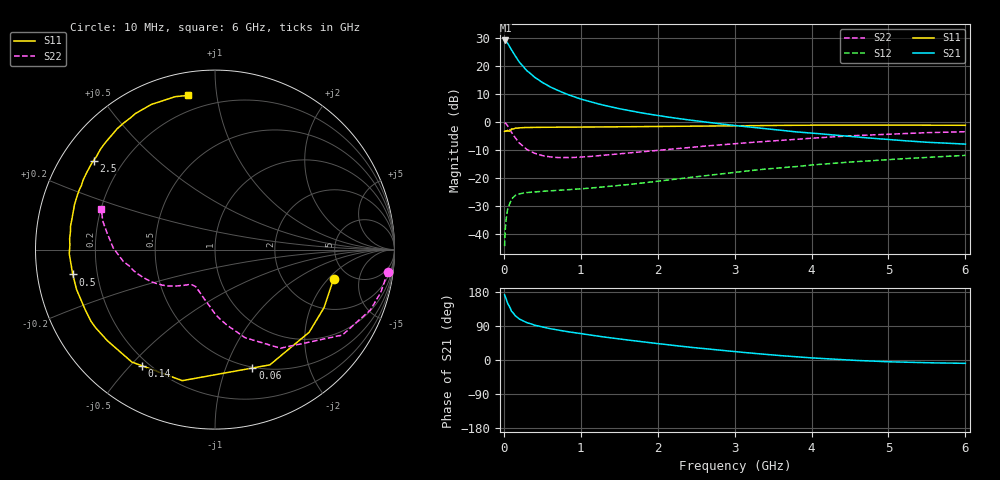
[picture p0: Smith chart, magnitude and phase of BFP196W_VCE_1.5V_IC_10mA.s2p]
! Infineon Technologies  Discrete & RF Semiconductors
! BFP196W
! VCE = 1.5 V,  IC =  10mA
! Common Emitter S-Parameters:  Jan 2016
# GHz  S  MA  R  50
!  f  S11  S21  S12  S22
! GHz  MAG  ANG  MAG  ANG  MAG  ANG  MAG  ANG
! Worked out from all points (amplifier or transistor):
!   210 points, 10 MHz to 6 GHz, reference 50 ohm
!   highest |S21| = 29.0 dB at 20 MHz (marker M1)
!   |S21| within 3 dB of that: start of sweep to 92.14 MHz
!   unconditionally stable (mu >= 1): 1.144 GHz to 3.326 GHz
!   at 185 MHz: K = 0.21, MSG = 23.9 dB, |S12| = -25.7 dB
!   at 1.52 GHz: K = 1.14, MAG = 11.3 dB, |S12| = -22.5 dB
!   at 6 GHz: K = 0.97, MSG = 2.0 dB, |S12| = -11.9 dB
!   S11 on the Smith chart (normalised r, x): 10 MHz: 3.77, -2.31; 60 MHz: 0.49, -1.24; 140 MHz: 0.17, -0.54; 500 MHz: 0.11, -0.09; 2.5 GHz: 0.10, +0.33; 6 GHz: 0.12, +0.83
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0.01  0.6806 -14.0  27.96 171.9  0.0062 82.2  0.9705 -7.3
0.02  0.6881 -28.0  28.11 166.8  0.013 77.8  0.954 -14.5
0.03  0.6981 -41.2  27.31 160.8  0.0187 71.9  0.9285 -21.3
0.05  0.7113 -64.5  25.16 149.1  0.0284 61.7  0.8542 -33.9
0.06  0.6918 -72.5  23.75 145.9  0.0309 56.9  0.8068 -37.5
0.1  0.7526 -104.0  19.16 128.8  0.0426 44.1  0.6595 -56.4
0.14  0.7646 -122.2  15.56 119.3  0.0482 35.9  0.5438 -67.6
0.15  0.7792 -126.5  14.75 116.2  0.0497 34.2  0.519 -71.1
0.2  0.7857 -139.8  11.66 108.3  0.0525 29.2  0.4252 -81.1
0.26  0.798 -150.0  9.359 102.0  0.0547 25.6  0.3601 -89.7
0.3  0.797 -155.1  8.141 98.5  0.0556 24.2  0.3242 -94.1
0.4  0.8027 -163.9  6.235 91.9  0.0571 22.4  0.278 -103.1
0.5  0.8046 -170.1  5.042 86.9  0.0587 22.8  0.2527 -109.5
0.7  0.8123 -178.4  3.649 79.1  0.0609 24.5  0.2331 -117.4
1.02  0.8117 172.7  2.511 69.0  0.0651 29.2  0.2385 -125.2
1.44  0.8198 163.4  1.797 57.2  0.0729 36.1  0.2664 -131.6
2.02  0.8309 152.2  1.288 42.9  0.0889 43.2  0.3155 -139.9
2.5  0.8384 143.7  1.047 32.1  0.1063 46.1  0.3614 -147.4
3.1  0.856 133.7  0.839 20.3  0.1318 46.3  0.4214 -157.5
4.1  0.8784 118.9  0.618 4.5  0.1761 42.1  0.5244 -174.4
5.1  0.8792 107.8  0.475 -5.2  0.2183 34.9  0.6134 170.4
6  0.8723 100.1  0.404 -8.8  0.2547 28.3  0.6715 160.5
